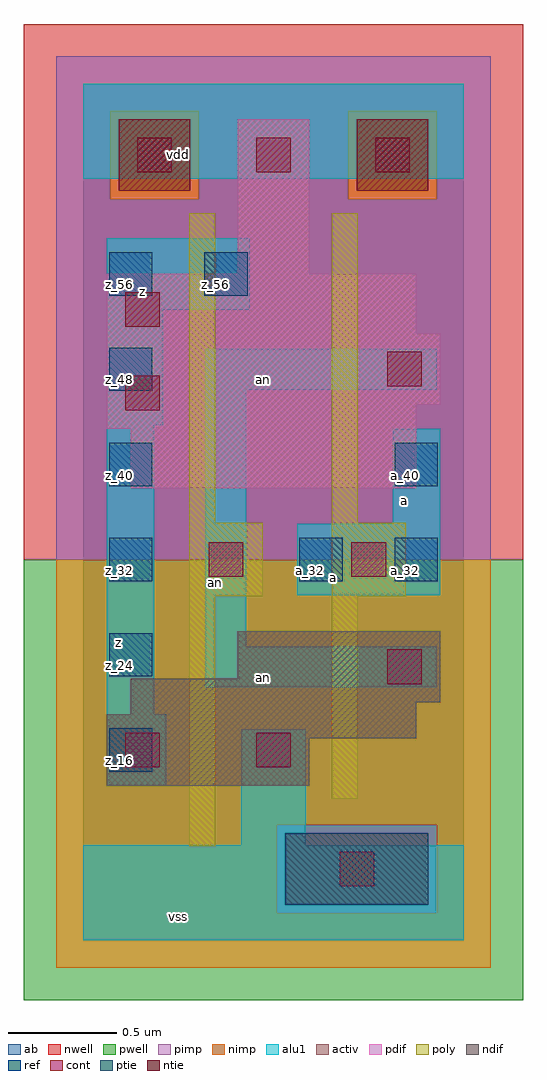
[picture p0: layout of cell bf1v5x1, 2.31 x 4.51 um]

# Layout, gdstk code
import gdstk
lib = gdstk.Library(unit=1e-6, precision=2.5e-09)
def R(c, l, rs):  # rectangles x0, y0, x1, y1
    for r in rs: c.add(gdstk.rectangle(r[:2], r[2:], *l))
def A(c, l, x, y, w, h, nx, ny, dx, dy):  # array of equal rectangles
    R(c, l, [(x+i*dx, y+j*dy, x+i*dx+w, y+j*dy+h) for i in range(nx) for j in range(ny)])
ndif = (3, 0)
pdif = (4, 0)
ntie = (5, 0)
ptie = (6, 0)
ref = (24, 0)
cont = (25, 0)
pwell = (41, 0)
nwell = (42, 0)
activ = (43, 0)
pimp = (44, 0)
nimp = (45, 0)
poly = (46, 0)
alu1 = (49, 0)
ab = (63, 0)

bf1v5x1 = lib.new_cell('bf1v5x1')
R(bf1v5x1, ndif, [(0.11,0.715,1.045,0.935), (0.11,0.935,1.54,1.045), (0.22,1.045,1.54,1.1), (0.22,1.1,1.65,1.21), (0.715,1.21,1.65,1.43)])
R(bf1v5x1, pdif, [(0.22,2.09,1.54,2.365), (0.11,2.365,1.54,2.475), (0.11,2.475,1.65,2.805), (0.11,2.805,1.54,3.08), (0.715,3.08,1.045,3.795)])
R(bf1v5x1, ntie, [(0.165,3.465,0.495,3.795), (1.265,3.465,1.595,3.795)])
R(bf1v5x1, ptie, [(0.935,0.165,1.595,0.495)])
A(bf1v5x1, ref, 0.12, 0.78, 0.2, 0.2, 1, 6, 0, 0.44)
R(bf1v5x1, ref, [(1,1.66,1.2,1.86), (1.44,1.66,1.64,1.86), (1.44,2.1,1.64,2.3), (0.56,2.98,0.76,3.18)])
A(bf1v5x1, cont, 0.25, 3.55, 0.16, 0.16, 3, 1, 0.55, 0)
R(bf1v5x1, cont, [(1.185,0.25,1.345,0.41), (0.195,0.8,0.355,0.96), (0.8,0.8,0.96,0.96), (1.405,1.185,1.565,1.345), (0.58,1.68,0.74,1.84), (1.24,1.68,1.4,1.84), (0.195,2.45,0.355,2.61), (1.405,2.56,1.565,2.72), (0.195,2.835,0.355,2.995)])
R(bf1v5x1, pwell, [(-0.275,-0.275,2.035,1.76)])
R(bf1v5x1, nwell, [(-0.275,1.76,2.035,4.235)])
R(bf1v5x1, activ, [(0.935,0.165,1.595,0.495), (0.11,0.715,1.045,0.935), (0.11,0.935,1.54,1.045), (0.22,1.045,1.54,1.1), (0.22,1.1,1.65,1.21), (0.715,1.21,1.65,1.43), (0.22,2.09,1.54,2.365), (0.11,2.365,1.54,2.475), (0.11,2.475,1.65,2.805), (0.11,2.805,1.54,3.08), (0.715,3.08,1.045,3.795), (0.165,3.465,0.495,3.795), (1.265,3.465,1.595,3.795)])
R(bf1v5x1, pimp, [(0.895,0.125,1.635,0.535), (-0.125,1.76,1.885,3.425), (-0.125,3.425,0.125,3.835), (0.535,3.425,1.225,3.835), (1.635,3.425,1.885,3.835), (-0.125,3.835,1.885,4.085)])
R(bf1v5x1, nimp, [(-0.125,-0.125,1.885,0.125), (-0.125,0.125,0.895,0.535), (1.635,0.125,1.885,0.535), (-0.125,0.535,1.885,1.76), (0.125,3.425,0.535,3.835), (1.225,3.425,1.635,3.835)])
R(bf1v5x1, poly, [(0.49,0.435,0.61,1.59), (1.15,0.655,1.27,1.59), (0.49,1.59,0.83,1.93), (1.15,1.59,1.49,1.93), (0.49,1.93,0.61,3.36), (1.15,1.93,1.27,3.36)])
R(bf1v5x1, alu1, [(0,0,1.76,0.44), (0.73,0.44,1.03,0.975), (0.11,0.715,0.385,1.045), (0.11,1.045,0.33,2.38), (0.565,1.17,1.635,1.36), (0.565,1.36,0.755,2.545), (0.99,1.595,1.65,1.925), (1.43,1.925,1.65,2.365), (0.11,2.38,0.37,2.915), (0.565,2.545,1.635,2.735), (0.11,2.915,0.77,3.245), (0,3.52,1.76,3.96)])
R(bf1v5x1, ab, [(0,0,1.76,3.96)])
bf1v5x1.add(gdstk.Label('vss', (0.44,0.11), layer=49, texttype=0))
bf1v5x1.add(gdstk.Label('an', (0.8325,1.2175), layer=49, texttype=0))
bf1v5x1.add(gdstk.Label('a', (1.155,1.6775), layer=49, texttype=0))
bf1v5x1.add(gdstk.Label('a', (1.485,2.035), layer=49, texttype=0))
bf1v5x1.add(gdstk.Label('an', (0.6125,1.655), layer=49, texttype=0))
bf1v5x1.add(gdstk.Label('z', (0.165,1.3775), layer=49, texttype=0))
bf1v5x1.add(gdstk.Label('an', (0.8325,2.5925), layer=49, texttype=0))
bf1v5x1.add(gdstk.Label('z', (0.275,2.9975), layer=49, texttype=0))
bf1v5x1.add(gdstk.Label('vdd', (0.44,3.63), layer=49, texttype=0))
bf1v5x1.add(gdstk.Label('z_56', (0.61,3.03), layer=24, texttype=0))
bf1v5x1.add(gdstk.Label('a_32', (1.05,1.71), layer=24, texttype=0))
bf1v5x1.add(gdstk.Label('a_32', (1.49,1.71), layer=24, texttype=0))
bf1v5x1.add(gdstk.Label('a_40', (1.49,2.15), layer=24, texttype=0))
bf1v5x1.add(gdstk.Label('z_16', (0.17,0.83), layer=24, texttype=0))
bf1v5x1.add(gdstk.Label('z_24', (0.17,1.27), layer=24, texttype=0))
bf1v5x1.add(gdstk.Label('z_32', (0.17,1.71), layer=24, texttype=0))
bf1v5x1.add(gdstk.Label('z_40', (0.17,2.15), layer=24, texttype=0))
bf1v5x1.add(gdstk.Label('z_48', (0.17,2.59), layer=24, texttype=0))
bf1v5x1.add(gdstk.Label('z_56', (0.17,3.03), layer=24, texttype=0))

lib.write_gds('bf1v5x1.gds')
